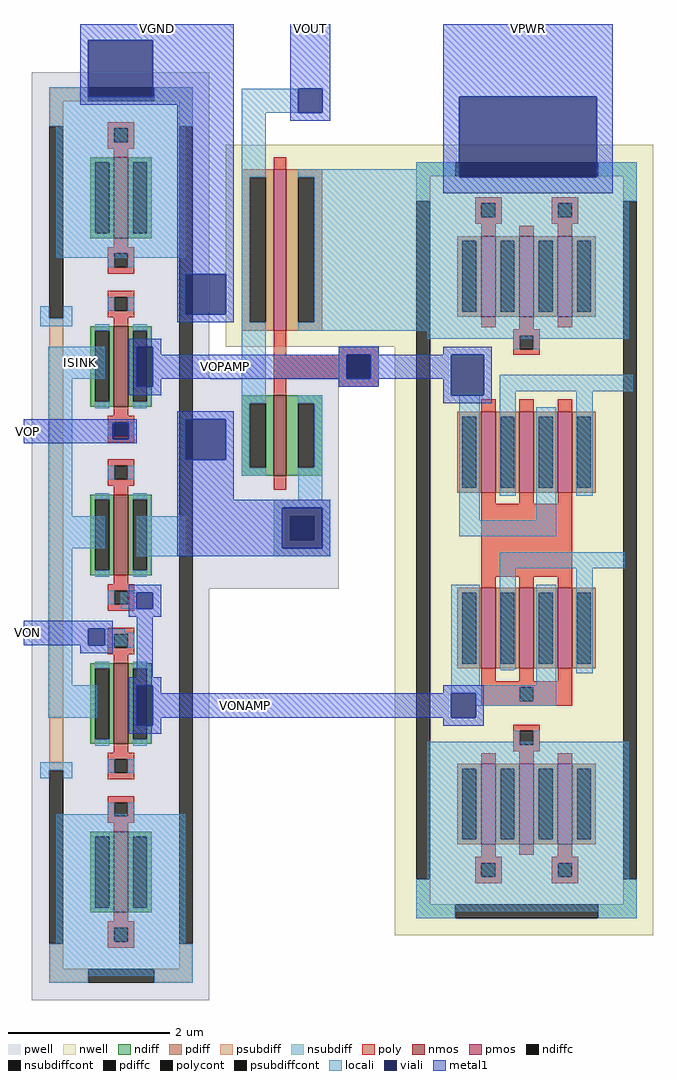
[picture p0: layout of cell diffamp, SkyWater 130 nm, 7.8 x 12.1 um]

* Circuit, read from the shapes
.subckt diffamp ISINK VGND VON VONAMP VOP VOPAMP VOUT VPWR
XM1 VGND VGND VGND VGND sky130_fd_pr__nfet_01v8 w=1 l=0.18 m=2
XM2 VONAMP VON ISINK VGND sky130_fd_pr__nfet_01v8 w=1 l=0.18
XM3 VGND VONAMP ISINK VGND sky130_fd_pr__nfet_01v8 w=1 l=0.18
XM4 VOPAMP VOP ISINK VGND sky130_fd_pr__nfet_01v8 w=1 l=0.18
XM5 VGND VOPAMP VOUT VGND sky130_fd_pr__nfet_01v8 w=1 l=0.15
XM6 VPWR VOPAMP VOUT VPWR sky130_fd_pr__pfet_01v8 w=2 l=0.15
XM7 VPWR VPWR VPWR VPWR sky130_fd_pr__pfet_01v8 w=1 l=0.18 m=6
XM8 VPWR VONAMP VONAMP VPWR sky130_fd_pr__pfet_01v8 w=1 l=0.18 m=3
XM9 VPWR VONAMP VOPAMP VPWR sky130_fd_pr__pfet_01v8 w=1 l=0.18 m=3
.ends

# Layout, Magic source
magic
tech sky130A
magscale 1 4
<< nwell >>
rect -880 5200 1240 6200
rect -40 2280 1240 5200
<< pwell >>
rect -1840 5040 -960 6560
rect -1840 4000 -320 5040
rect -1840 1960 -960 4000
<< nmos >>
rect -640 4560 -580 4960
<< pmos >>
rect -640 5280 -580 6080
<< ndiff >>
rect -800 4920 -640 4960
rect -800 4600 -760 4920
rect -680 4600 -640 4920
rect -800 4560 -640 4600
rect -580 4920 -400 4960
rect -580 4600 -520 4920
rect -440 4600 -400 4920
rect -580 4560 -400 4600
<< pdiff >>
rect -800 6040 -640 6080
rect -800 5320 -760 6040
rect -680 5320 -640 6040
rect -800 5280 -640 5320
rect -580 6040 -400 6080
rect -580 5320 -520 6040
rect -440 5320 -400 6040
rect -580 5280 -400 5320
<< ndiffc >>
rect -760 4600 -680 4920
rect -520 4600 -440 4920
<< pdiffc >>
rect -760 5320 -680 6040
rect -520 5320 -440 6040
<< psubdiff >>
rect -640 4360 -360 4440
rect -640 4240 -560 4360
rect -440 4240 -360 4360
rect -640 4160 -360 4240
<< psubdiffcont >>
rect -560 4240 -440 4360
<< poly >>
rect -640 6080 -580 6140
rect -640 5160 -580 5280
rect -320 5160 -120 5200
rect -640 5040 -280 5160
rect -160 5040 -120 5160
rect -640 4960 -580 5040
rect -320 5000 -120 5040
rect -640 4490 -580 4560
<< polycont >>
rect -280 5040 -160 5160
<< locali >>
rect -1720 5640 -1080 6440
rect -800 6360 -520 6480
rect -800 6040 -680 6360
rect -800 5320 -760 6040
rect -1760 5040 -1480 5200
rect -1760 4360 -1640 5040
rect -800 4920 -680 5320
rect -520 6040 280 6080
rect 960 6040 1120 6080
rect -440 5320 1120 6040
rect -520 5280 1120 5320
rect 120 5240 1120 5280
rect -320 5160 -120 5200
rect -320 5040 -280 5160
rect -160 5040 -120 5160
rect -320 5000 -120 5040
rect 480 4980 1140 5060
rect -800 4600 -760 4920
rect -800 4560 -680 4600
rect -520 4920 -400 4960
rect -440 4600 -400 4920
rect -520 4440 -400 4600
rect -640 4400 -360 4440
rect -1760 4200 -1480 4360
rect -1760 3520 -1640 4200
rect -1320 4160 -1080 4360
rect -640 4200 -600 4400
rect -400 4200 -360 4400
rect 280 4340 380 4960
rect 480 4460 560 4980
rect 660 4340 760 4900
rect 860 4460 940 4980
rect 280 4260 760 4340
rect -640 4160 -360 4200
rect 480 4100 1100 4180
rect -1400 3900 -1320 3980
rect -1480 3780 -1380 3800
rect -1480 3720 -1340 3780
rect 240 3520 380 4020
rect 480 3600 560 4100
rect 660 3520 760 4020
rect 860 3580 940 4100
rect -1760 3360 -1520 3520
rect 240 3480 760 3520
rect 360 3420 760 3480
rect -1720 2080 -1080 2880
rect 120 2400 1120 3240
<< viali >>
rect -1560 6440 -1240 6720
rect -520 6360 -400 6480
rect -1080 5360 -880 5560
rect -1320 5000 -1240 5200
rect 280 6040 960 6440
rect -280 5040 -160 5160
rect 240 4960 400 5160
rect -1440 4740 -1360 4820
rect -1080 4640 -880 4840
rect -600 4360 -400 4400
rect -600 4240 -560 4360
rect -560 4240 -440 4360
rect -440 4240 -400 4360
rect -600 4200 -400 4240
rect -1320 3900 -1240 3980
rect -1560 3720 -1480 3800
rect -1320 3320 -1240 3520
rect 240 3360 360 3480
<< metal1 >>
rect -1600 6720 -840 6800
rect -1600 6440 -1560 6720
rect -1240 6440 -840 6720
rect -1600 6400 -840 6440
rect -1120 5560 -840 6400
rect -560 6480 -360 6800
rect -560 6360 -520 6480
rect -400 6360 -360 6480
rect -560 6320 -360 6360
rect 200 6440 1040 6800
rect 200 6040 280 6440
rect 960 6040 1040 6440
rect 200 5960 1040 6040
rect -1120 5360 -1080 5560
rect -880 5360 -840 5560
rect -1120 5320 -840 5360
rect -1360 5200 -1200 5240
rect -1360 5000 -1320 5200
rect -1240 5160 -1200 5200
rect -320 5160 -120 5200
rect 200 5160 440 5200
rect -1240 5040 -280 5160
rect -160 5040 240 5160
rect -1240 5000 -1200 5040
rect -320 5000 -120 5040
rect -1360 4960 -1200 5000
rect 200 4960 240 5040
rect 400 4960 440 5160
rect 200 4920 440 4960
rect -1120 4840 -840 4880
rect -1880 4820 -1320 4840
rect -1880 4740 -1440 4820
rect -1360 4740 -1320 4820
rect -1880 4720 -1320 4740
rect -1120 4640 -1080 4840
rect -880 4640 -840 4840
rect -1120 4440 -840 4640
rect -1120 4400 -360 4440
rect -1120 4200 -600 4400
rect -400 4200 -360 4400
rect -1120 4160 -360 4200
rect -1360 3980 -1200 4020
rect -1360 3900 -1320 3980
rect -1240 3900 -1200 3980
rect -1360 3860 -1200 3900
rect -1880 3800 -1440 3840
rect -1880 3720 -1560 3800
rect -1480 3720 -1440 3800
rect -1600 3680 -1440 3720
rect -1320 3560 -1240 3860
rect -1360 3520 -1200 3560
rect -1360 3320 -1320 3520
rect -1240 3480 -1200 3520
rect 200 3480 400 3520
rect -1240 3360 240 3480
rect 360 3360 400 3480
rect -1240 3320 -1200 3360
rect 200 3320 400 3360
rect -1360 3280 -1200 3320
use sky130_fd_pr__nfet_01v8_T49HPK  sky130_fd_pr__nfet_01v8_T49HPK_0
transform 1 0 -1398 0 1 4266
box -428 -2292 428 2292
use sky130_fd_pr__pfet_01v8_XAY5ZQ  sky130_fd_pr__pfet_01v8_XAY5ZQ_0
transform 1 0 613 0 1 4240
box -619 -1946 619 1946
<< labels >>
rlabel metal1 200 6760 1040 6800 1 VPWR
rlabel locali -1640 5080 -1560 5160 1 ISINK
rlabel metal1 -1880 3720 -1840 3840 1 VON
rlabel metal1 -1880 4720 -1840 4840 1 VOP
rlabel metal1 -920 5040 -840 5160 1 VOPAMP
rlabel metal1 -840 3360 -720 3480 1 VONAMP
rlabel metal1 -1600 6760 -840 6800 1 VGND
rlabel metal1 -560 6760 -360 6800 1 VOUT
<< end >>

# cell sky130_fd_pr__nfet_01v8_T49HPK: kit device sky130_fd_pr__nfet_01v8, w 1 l 0.18 m 5 nf 1 diffcov 100 polycov 100 guard 1 glc 1 grc 1 gtc 1 gbc 1 tbcov 100 rlcov 100 topc 1 botc 1 poverlap 0 doverlap 1 lmin 0.15 wmin 0.42 compatible {sky130_fd_pr__nfet_01v8 sky130_fd_pr__nfet_01v8_lvt sky130_fd_bs_flash__special_sonosfet_star sky130_fd_pr__nfet_g5v0d10v5 sky130_fd_pr__nfet_05v0_nvt sky130_fd_pr__nfet_03v3_nvt} full_metal 1 viasrc 100 viadrn 100 viagate 100 viagb 0 viagr 0 viagl 0 viagt 0

# cell sky130_fd_pr__pfet_01v8_XAY5ZQ: kit device sky130_fd_pr__pfet_01v8, w 1 l 0.18 m 4 nf 3 diffcov 100 polycov 100 guard 1 glc 1 grc 1 gtc 1 gbc 1 tbcov 100 rlcov 100 topc 1 botc 1 poverlap 0 doverlap 1 lmin 0.15 wmin 0.42 compatible {sky130_fd_pr__pfet_01v8 sky130_fd_pr__pfet_01v8_lvt sky130_fd_pr__pfet_01v8_hvt sky130_fd_pr__pfet_g5v0d10v5} full_metal 1 viasrc 100 viadrn 100 viagate 100 viagb 0 viagr 0 viagl 0 viagt 0
